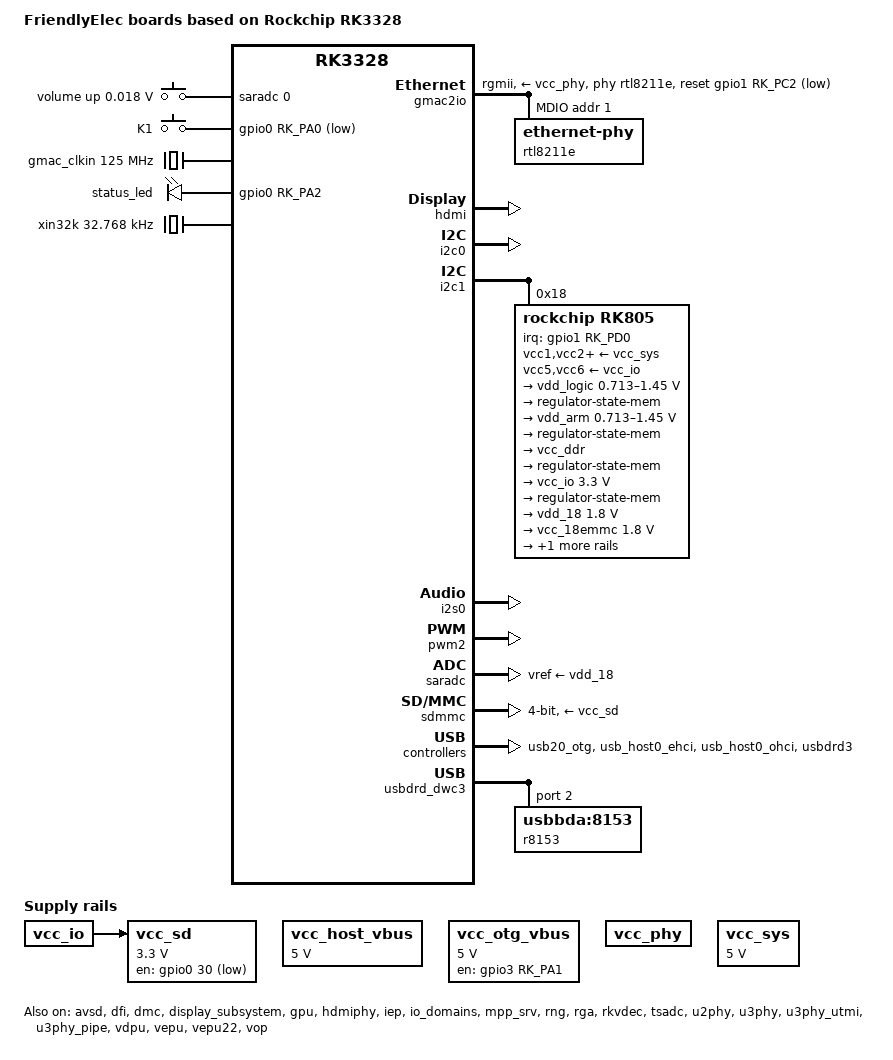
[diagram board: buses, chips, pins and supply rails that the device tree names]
// SPDX-License-Identifier: (GPL-2.0+ OR MIT)
/*
 * Copyright (c) 2020 FriendlyElec Computer Tech. Co., Ltd.
 * (http://www.friendlyarm.com)
 */

#include "rk3328.dtsi"
#include <dt-bindings/input/input.h>

/ {
	model = "FriendlyElec boards based on Rockchip RK3328";
	compatible = "friendlyelec,nanopi-r2",
		   "rockchip,rk3328";

	aliases {
		ethernet1 = &r8153;
		mmc0 = &sdmmc;
		mmc1 = &sdmmc_ext;
		mmc2 = &emmc;
	};

	chosen: chosen {
		bootargs = "earlycon=uart8250,mmio32,0xff130000 console=ttyFIQ0 swiotlb=1 coherent_pool=1m";
	};

	mach: board {
		compatible = "friendlyelec,board";
		machine = "NANOPI-R2";
		hwrev = <255>;
		model = "NanoPi R2 Series";
	};

	fiq-debugger {
		compatible = "rockchip,fiq-debugger";
		rockchip,serial-id = <2>;
		rockchip,signal-irq = <159>;
		rockchip,wake-irq = <0>;
		/* If enable uart uses irq instead of fiq */
		rockchip,irq-mode-enable = <0>;
		rockchip,baudrate = <1500000>;  /* Only 115200 and 1500000 */
		interrupts = <GIC_SPI 127 IRQ_TYPE_LEVEL_LOW>;
		status = "okay";
	};

	adc-keys {
		compatible = "adc-keys";
		io-channels = <&saradc 0>;
		io-channel-names = "buttons";
		poll-interval = <100>;
		keyup-threshold-microvolt = <1800000>;

		vol-up-key {
			linux,code = <KEY_VOLUMEUP>;
			label = "volume up";
			press-threshold-microvolt = <18000>;
		};
	};

	gpio_keys: gpio-keys {
		compatible = "gpio-keys";
		pinctrl-names = "default";
		pinctrl-0 = <&gpio_key1>;

		button@0 {
			gpios = <&gpio0 RK_PA0 GPIO_ACTIVE_LOW>;
			label = "K1";
			linux,code = <BTN_1>;
			debounce-interval = <20>;
			wakeup-source;
		};
	};

	gmac_clkin: external-gmac-clock {
		compatible = "fixed-clock";
		clock-frequency = <125000000>;
		clock-output-names = "gmac_clkin";
		#clock-cells = <0>;
	};

	reserved-memory {
		#address-cells = <2>;
		#size-cells = <2>;
		ranges;

		drm_logo: drm-logo@00000000 {
			compatible = "rockchip,drm-logo";
			reg = <0x0 0x0 0x0 0x0>;
		};
	};

	leds: gpio-leds {
		compatible = "gpio-leds";
		pinctrl-names = "default";
		pinctrl-0 =<&leds_gpio>;
		status = "okay";

		led@1 {
			gpios = <&gpio0 RK_PA2 GPIO_ACTIVE_HIGH>;
			label = "status_led";
			linux,default-trigger = "heartbeat";
			linux,default-trigger-delay-ms = <0>;
		};
	};

	sdio_pwrseq: sdio-pwrseq {
		compatible = "mmc-pwrseq-simple";
		clocks = <&rk805 1>;
		clock-names = "ext_clock";
		pinctrl-names = "default";
		pinctrl-0 = <&wifi_enable_h>;
		status = "disabled";

		/*
		 * On the module itself this is one of these (depending
		 * on the actual card populated):
		 * - SDIO_RESET_L_WL_REG_ON
		 * - PDN (power down when low)
		 */
		reset-gpios = <&gpio3 RK_PB0 GPIO_ACTIVE_LOW>;
	};

	sound {
		status = "disabled";
		compatible = "simple-audio-card";
		simple-audio-card,format = "i2s";
		simple-audio-card,mclk-fs = <256>;
		simple-audio-card,name = "rockchip,rk3328";
		simple-audio-card,cpu {
			sound-dai = <&i2s1>;
		};
		simple-audio-card,codec {
			sound-dai = <&codec>;
		};
	};

	hdmi-sound {
		compatible = "simple-audio-card";
		simple-audio-card,format = "i2s";
		simple-audio-card,mclk-fs = <128>;
		simple-audio-card,name = "rockchip,hdmi";
		simple-audio-card,cpu {
			sound-dai = <&i2s0>;
		};
		simple-audio-card,codec {
			sound-dai = <&hdmi>;
		};
	};

	spdif-sound {
		status = "disabled";
		compatible = "simple-audio-card";
		simple-audio-card,name = "rockchip,spdif";
		simple-audio-card,cpu {
			sound-dai = <&spdif>;
		};
		simple-audio-card,codec {
			sound-dai = <&spdif_out>;
		};
	};

	spdif_out: spdif-out {
		status = "disabled";
		compatible = "linux,spdif-dit";
		#sound-dai-cells = <0>;
	};

	vcc_host_vbus: host-vbus-regulator {
		compatible = "regulator-fixed";
		regulator-name = "vcc_host_vbus";
		regulator-always-on;
		regulator-boot-on;
		regulator-min-microvolt = <5000000>;
		regulator-max-microvolt = <5000000>;
	};

	vcc_otg_vbus: otg-vbus-regulator {
		compatible = "regulator-fixed";
		gpio = <&gpio3 RK_PA1 GPIO_ACTIVE_HIGH>;
		pinctrl-names = "default";
		pinctrl-0 = <&otg_vbus_drv>;
		regulator-name = "vcc_otg_vbus";
		regulator-min-microvolt = <5000000>;
		regulator-max-microvolt = <5000000>;
		enable-active-high;
	};

	vcc_phy: vcc-phy-regulator {
		compatible = "regulator-fixed";
		regulator-name = "vcc_phy";
		regulator-always-on;
		regulator-boot-on;
	};

	vcc_sd: sdmmc-regulator {
		compatible = "regulator-fixed";
		gpio = <&gpio0 30 GPIO_ACTIVE_LOW>;
		pinctrl-names = "default";
		pinctrl-0 = <&sdmmc0m1_gpio>;
		regulator-name = "vcc_sd";
		regulator-boot-on;
		regulator-min-microvolt = <3300000>;
		regulator-max-microvolt = <3300000>;
		vin-supply = <&vcc_io>;
	};

	vccio_sd: sdmmcio-regulator {
		compatible = "regulator-gpio";
		gpios = <&gpio1 RK_PD4 GPIO_ACTIVE_HIGH>;
		states = <1800000 0x1
			  3300000 0x0>;
		regulator-name = "vccio_sd";
		regulator-type = "voltage";
		regulator-min-microvolt = <1800000>;
		regulator-max-microvolt = <3300000>;
		regulator-always-on;
		vin-supply = <&vcc_io>;
		startup-delay-us = <2000>;
		regulator-settling-time-us = <5000>;
		enable-active-high;
		status = "disabled";
	};

	vcc_sys: vcc-sys {
		compatible = "regulator-fixed";
		regulator-name = "vcc_sys";
		regulator-min-microvolt = <5000000>;
		regulator-max-microvolt = <5000000>;
		regulator-always-on;
	};

	xin32k: xin32k {
		compatible = "fixed-clock";
		clock-frequency = <32768>;
		clock-output-names = "xin32k";
		#clock-cells = <0>;
	};

	rk_wlan: wireless-wlan {
		compatible = "wlan-platdata";
		rockchip,grf = <&grf>;
		wifi_chip_type = "ap6255";
		sdio_vref = <1800>;
		WIFI,host_wake_irq = <&gpio3 RK_PA1 GPIO_ACTIVE_HIGH>;
		status = "disabled";
	};

	rk_bluetooth: wireless-bluetooth {
		compatible = "bluetooth-platdata";
		clocks = <&rk805 1>;
		clock-names = "ext_clock";
		status = "disabled";
	};
};

&avsd {
	status = "okay";
};

&codec {
	#sound-dai-cells = <0>;
	status = "disabled";
};

&cpu0 {
	cpu-supply = <&vdd_arm>;
};

&dfi {
	status = "okay";
};

&dmc {
	center-supply = <&vdd_logic>;
	status = "okay";
};

&display_subsystem {
	logo-memory-region = <&drm_logo>;
	status = "okay";

	route {
		route_hdmi: route-hdmi {
			status = "okay";
			logo,uboot = "logo.bmp";
			logo,kernel = "logo_kernel.bmp";
			logo,mode = "fullscreen";
			charge_logo,mode = "fullscreen";
			connect = <&vop_out_hdmi>;
		};
	};
};

&emmc {
	bus-width = <8>;
	cap-mmc-highspeed;
	mmc-hs200-1_8v;
	supports-emmc;
	disable-wp;
	non-removable;
	num-slots = <1>;
	pinctrl-names = "default";
	pinctrl-0 = <&emmc_clk &emmc_cmd &emmc_bus8>;
	status = "disabled";
};

&gmac2io {
	phy-handle = <&rtl8211e>;
	phy-supply = <&vcc_phy>;
	phy-mode = "rgmii";
	clock_in_out = "input";
	snps,reset-gpio = <&gpio1 RK_PC2 GPIO_ACTIVE_LOW>;
	snps,reset-active-low;
	snps,reset-delays-us = <0 10000 50000>;
	assigned-clocks = <&cru SCLK_MAC2IO>, <&cru SCLK_MAC2IO_EXT>;
	assigned-clock-parents = <&gmac_clkin>, <&gmac_clkin>;
	pinctrl-names = "default";
	pinctrl-0 = <&rgmiim1_pins>;
	snps,aal;
	snps,rxpbl = <0x4>;
	snps,txpbl = <0x4>;
	tx_delay = <0x26>;
	rx_delay = <0x11>;
	handle_cpu_id = <1>;
	status = "okay";

	mdio {
		compatible = "snps,dwmac-mdio";
		#address-cells = <1>;
		#size-cells = <0>;

		rtl8211e: ethernet-phy@1 {
			reg = <1>;
		};
	};
};

&gmac2phy {
	phy-supply = <&vcc_phy>;
	clock_in_out = "output";
	assigned-clocks = <&cru SCLK_MAC2PHY_SRC>;
	assigned-clock-rate = <50000000>;
	assigned-clocks = <&cru SCLK_MAC2PHY>;
	assigned-clock-parents = <&cru SCLK_MAC2PHY_SRC>;
	status = "disabled";
};

&gpu {
	status = "okay";
	mali-supply = <&vdd_logic>;
};

&hdmi {
	#sound-dai-cells = <0>;
	ddc-i2c-scl-high-time-ns = <9625>;
	ddc-i2c-scl-low-time-ns = <10000>;
	status = "okay";
};

&hdmiphy {
	status = "okay";
};

&i2c0 {
	status = "okay";
};

&i2c1 {
	status = "okay";

	rk805: rk805@18 {
		compatible = "rockchip,rk805";
		reg = <0x18>;
		interrupt-parent = <&gpio1>;
		interrupts = <RK_PD0 IRQ_TYPE_LEVEL_LOW>;
		#clock-cells = <1>;
		clock-output-names = "rk805-clkout1", "rk805-clkout2";
		gpio-controller;
		#gpio-cells = <2>;
		pinctrl-names = "default";
		pinctrl-0 = <&pmic_int_l>;
		rockchip,system-power-controller;
		wakeup-source;

		vcc1-supply = <&vcc_sys>;
		vcc2-supply = <&vcc_sys>;
		vcc3-supply = <&vcc_sys>;
		vcc4-supply = <&vcc_sys>;
		vcc5-supply = <&vcc_io>;
		vcc6-supply = <&vcc_io>;

		rtc {
			status = "okay";
		};

		pwrkey {
			status = "disabled";
		};

		gpio {
			status = "okay";
		};

		regulators {
			vdd_logic: DCDC_REG1 {
				regulator-name = "vdd_logic";
				regulator-init-microvolt = <1000000>;
				regulator-min-microvolt = <712500>;
				regulator-max-microvolt = <1450000>;
				regulator-initial-mode = <0x1>;
				regulator-ramp-delay = <12500>;
				regulator-boot-on;
				regulator-always-on;
				regulator-state-mem {
					regulator-mode = <0x2>;
					regulator-on-in-suspend;
					regulator-suspend-microvolt = <1000000>;
				};
			};

			vdd_arm: DCDC_REG2 {
				regulator-name = "vdd_arm";
				regulator-init-microvolt = <1225000>;
				regulator-min-microvolt = <712500>;
				regulator-max-microvolt = <1450000>;
				regulator-initial-mode = <0x1>;
				regulator-ramp-delay = <12500>;
				regulator-boot-on;
				regulator-always-on;
				regulator-state-mem {
					regulator-mode = <0x2>;
					regulator-on-in-suspend;
					regulator-suspend-microvolt = <950000>;
				};
			};

			vcc_ddr: DCDC_REG3 {
				regulator-name = "vcc_ddr";
				regulator-initial-mode = <0x1>;
				regulator-boot-on;
				regulator-always-on;
				regulator-state-mem {
					regulator-mode = <0x2>;
					regulator-on-in-suspend;
				};
			};

			vcc_io: DCDC_REG4 {
				regulator-name = "vcc_io";
				regulator-min-microvolt = <3300000>;
				regulator-max-microvolt = <3300000>;
				regulator-initial-mode = <0x1>;
				regulator-boot-on;
				regulator-always-on;
				regulator-state-mem {
					regulator-mode = <0x2>;
					regulator-on-in-suspend;
					regulator-suspend-microvolt = <3300000>;
				};
			};

			vdd_18: LDO_REG1 {
				regulator-name = "vdd_18";
				regulator-min-microvolt = <1800000>;
				regulator-max-microvolt = <1800000>;
				regulator-boot-on;
				regulator-always-on;
				regulator-state-mem {
					regulator-on-in-suspend;
					regulator-suspend-microvolt = <1800000>;
				};
			};

			vcc_18emmc: LDO_REG2 {
				regulator-name = "vcc_18emmc";
				regulator-min-microvolt = <1800000>;
				regulator-max-microvolt = <1800000>;
				regulator-boot-on;
				regulator-always-on;
				regulator-state-mem {
					regulator-on-in-suspend;
					regulator-suspend-microvolt = <1800000>;
				};
			};

			vdd_11: LDO_REG3 {
				regulator-name = "vdd_11";
				regulator-min-microvolt = <1100000>;
				regulator-max-microvolt = <1100000>;
				regulator-boot-on;
				regulator-always-on;
				regulator-state-mem {
					regulator-on-in-suspend;
					regulator-suspend-microvolt = <1100000>;
				};
			};
		};
	};

};

&i2s0 {
	#sound-dai-cells = <0>;
	rockchip,bclk-fs = <128>;
	status = "okay";
};

&i2s1 {
	#sound-dai-cells = <0>;
	status = "disabled";
};

&iep {
	status = "okay";
};

&iep_mmu {
	status = "okay";
};

&io_domains {
	status = "okay";

	vccio1-supply = <&vcc_io>;
	vccio2-supply = <&vcc_18emmc>;
	vccio3-supply = <&vcc_io>;
	vccio4-supply = <&vcc_io>;
	vccio5-supply = <&vcc_io>;
	vccio6-supply = <&vdd_18>;
	pmuio-supply = <&vcc_io>;
};

&mpp_srv {
	status = "okay";
};

&pwm2 {
	pinctrl-names = "default", "sleep";
	pinctrl-1 = <&pwm2_sleep_pin>;
	status = "okay";
};

&pwm3 {
	status = "disabled";
	compatible = "rockchip,remotectl-pwm";
	pinctrl-names = "default";
	pinctrl-0 = <&pwmir_pin>;
	remote_pwm_id = <3>;
	handle_cpu_id = <1>;
	remote_support_psci = <1>;

	ir_key1 {
		rockchip,usercode = <0xc43b>;
		rockchip,key_table =
			<0xff	116>,
			<0xef	105>,
			<0xed	106>,
			<0xf2	103>,
			<0xea	108>,
			<0xee	232>,
			<0xe9	113>,
			<0xf1	114>,
			<0xf3	115>,
			<0xae	139>,
			<0xeb	102>,
			<0xaf	158>,
			<0xf7	216>,
			<0xe5	 99>,
			<0xf5	388>;
	};
};

&rng {
	status = "okay";
};

&rga {
	status = "okay";
};

&rkvdec {
	vcodec-supply = <&vdd_logic>;
	status = "okay";
};

&rkvdec_mmu {
	status = "okay";
};

&rockchip_suspend {
	status = "okay";
};

&saradc {
	status = "okay";
	vref-supply = <&vdd_18>;
};

&sdio {
	status = "disabled";
};

&sdmmc_ext {
	bus-width = <4>;
	cap-sd-highspeed;
	cap-sdio-irq;
	disable-wp;
	keep-power-in-suspend;
	max-frequency = <100000000>;
	mmc-pwrseq = <&sdio_pwrseq>;
	non-removable;
	num-slots = <1>;
	pinctrl-names = "default";
	pinctrl-0 = <&sdmmc0ext_clk &sdmmc0ext_cmd &sdmmc0ext_bus4>;
	supports-sdio;
	sd-uhs-sdr104;
	status = "disabled";
};

&sdmmc {
	bus-width = <4>;
	cap-mmc-highspeed;
	cap-sd-highspeed;
	disable-wp;
	max-frequency = <150000000>;
	num-slots = <1>;
	pinctrl-names = "default";
	pinctrl-0 = <&sdmmc0_clk &sdmmc0_cmd &sdmmc0_dectn &sdmmc0_bus4>;
	supports-sd;
	status = "okay";
	vmmc-supply = <&vcc_sd>;
};

&spdif {
	#sound-dai-cells = <0>;
	status = "disabled";
};

&tsadc {
	status = "okay";
};

&u2phy {
	status = "okay";

	u2phy_host: host-port {
		status = "okay";
	};

	u2phy_otg: otg-port {
		vbus-supply = <&vcc_otg_vbus>;
		status = "okay";
	};
};

&u3phy {
	vbus-supply = <&vcc_host_vbus>;
	status = "okay";
};

&u3phy_utmi {
	status = "okay";
};

&u3phy_pipe {
	status = "okay";
};

&usb20_otg {
	status = "okay";
};

&usb_host0_ehci {
	status = "okay";
};

&usb_host0_ohci {
	status = "okay";
};

&usbdrd3 {
	status = "okay";
};

&usbdrd_dwc3 {
	status = "okay";
	handle_cpu_id = <2>;
	#address-cells = <1>;
	#size-cells = <0>;

	snps,dis-tx-ipgap-linecheck-quirk;
	snps,xhci-slow-suspend-quirk;
	snps,xhci-trb-ent-quirk;
	snps,xhci-warm-reset-on-suspend-quirk;

	r8153: device@2 {
		compatible = "usbbda:8153";
		reg = <2>;
		local-mac-address = [00 00 00 00 00 00];
	};
};

&vdpu {
	status = "okay";
};

&vpu_mmu {
	status = "okay";
};

&vepu {
	status = "okay";
};

&vepu_mmu {
	status = "okay";
};

&vepu22 {
	status = "okay";
};

&vepu22_mmu {
	status = "okay";
};

&vop {
	status = "okay";
};

&vop_mmu {
	status = "okay";
};

&pinctrl {
	gpio-leds {
		leds_gpio: leds-gpio {
			rockchip,pins = <0 RK_PA2 RK_FUNC_GPIO &pcfg_pull_none>;
	   };
	};

	rockchip-key {
		gpio_key1: gpio-key1 {
			rockchip,pins = <0 RK_PA0 RK_FUNC_GPIO &pcfg_pull_none>;
		};
	};

	pmic {
		pmic_int_l: pmic-int-l {
			rockchip,pins = <1 RK_PD0 RK_FUNC_GPIO &pcfg_pull_up>;
		};
	};

	pwm {
		pwm2_sleep_pin: pwm2-sleep-pin {
			rockchip,pins = <2 RK_PA6 RK_FUNC_GPIO &pcfg_output_low>;
		};
	};

	sdio-pwrseq {
		wifi_enable_h: wifi-enable-h {
			rockchip,pins = <3 RK_PB0 RK_FUNC_GPIO &pcfg_pull_none>;
		};
	};

	usb {
		otg_vbus_drv: otg-vbus-drv {
			rockchip,pins = <1 RK_PD2 RK_FUNC_GPIO &pcfg_pull_none>;
		};

		usb30_en_drv: usb30-en-drv {
			rockchip,pins = <2 RK_PC6 RK_FUNC_GPIO &pcfg_pull_none>;
		};
	};
};
